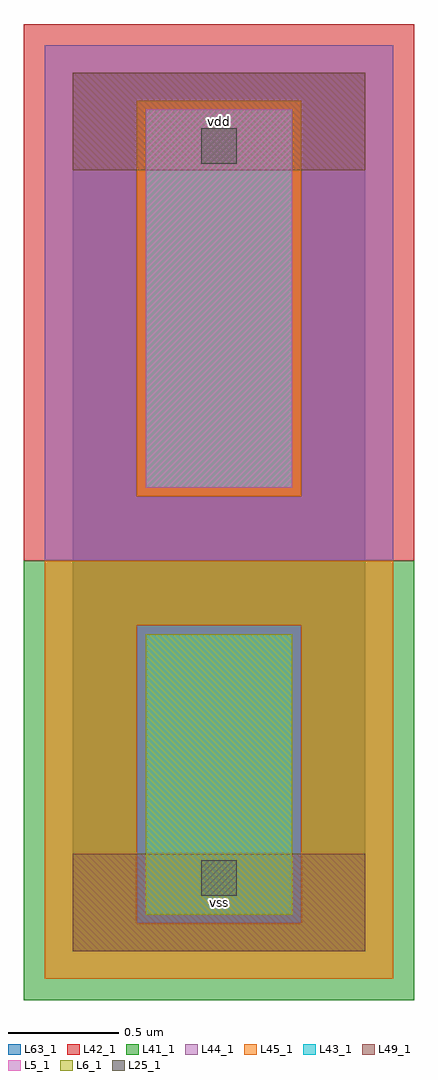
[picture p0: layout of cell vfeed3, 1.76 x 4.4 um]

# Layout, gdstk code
import gdstk
lib = gdstk.Library(unit=1e-6, precision=1e-09)
def R(c, l, rs):  # rectangles x0, y0, x1, y1
    for r in rs: c.add(gdstk.rectangle(r[:2], r[2:], *l))
L5_1 = (5, 1)
L6_1 = (6, 1)
L25_1 = (25, 1)
L41_1 = (41, 1)
L42_1 = (42, 1)
L43_1 = (43, 1)
L44_1 = (44, 1)
L45_1 = (45, 1)
L49_1 = (49, 1)
L63_1 = (63, 1)

vfeed3 = lib.new_cell('vfeed3')
R(vfeed3, L5_1, [(0.33,2.09,0.99,3.795)])
R(vfeed3, L6_1, [(0.33,0.165,0.99,1.43)])
R(vfeed3, L25_1, [(0.58,0.25,0.74,0.41), (0.58,3.55,0.74,3.71)])
R(vfeed3, L41_1, [(-0.22,-0.22,1.54,1.76)])
R(vfeed3, L42_1, [(-0.22,1.76,1.54,4.18)])
R(vfeed3, L43_1, [(0.33,0.165,0.99,1.43), (0.33,2.09,0.99,3.795)])
R(vfeed3, L44_1, [(0.29,0.125,1.03,1.47), (-0.125,1.76,1.445,2.05), (-0.125,2.05,0.29,3.835), (1.03,2.05,1.445,3.835), (-0.125,3.835,1.445,4.085)])
R(vfeed3, L45_1, [(-0.125,-0.125,1.445,0.125), (-0.125,0.125,0.29,1.47), (1.03,0.125,1.445,1.47), (-0.125,1.47,1.445,1.76), (0.29,2.05,1.03,3.835)])
R(vfeed3, L49_1, [(0,0,1.32,0.44), (0,3.52,1.32,3.96)])
R(vfeed3, L63_1, [(0,0,1.32,3.96)])
vfeed3.add(gdstk.Label('vss', (0.66,0.22), layer=49, texttype=1))
vfeed3.add(gdstk.Label('vdd', (0.66,3.74), layer=49, texttype=1))

lib.write_gds('vfeed3.gds')
